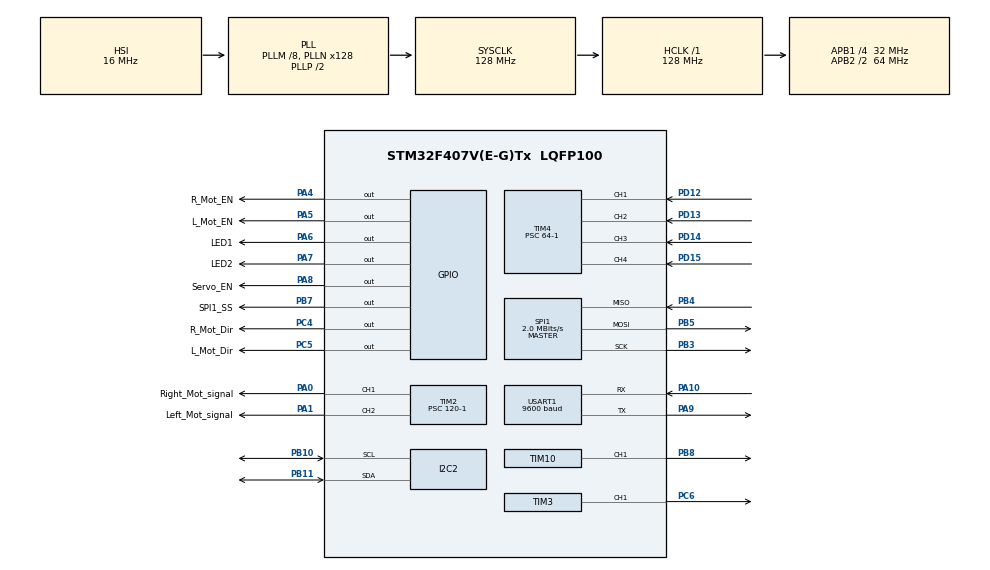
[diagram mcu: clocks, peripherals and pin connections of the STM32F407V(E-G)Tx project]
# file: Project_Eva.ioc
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I2C2.OwnAddress=0x64
Mcu.Family=STM32F4
Mcu.Name=STM32F407V(E-G)Tx
Mcu.Package=LQFP100
NVIC.PriorityGroup=NVIC_PRIORITYGROUP_4
NVIC.TIM2_IRQn=true\:0\:0\:false\:false\:true\:true\:true
NVIC.TIM4_IRQn=true\:0\:0\:false\:false\:true\:true\:true
NVIC.TIM6_DAC_IRQn=true\:1\:0\:true\:false\:true\:true\:true
NVIC.USART1_IRQn=true\:0\:0\:true\:false\:true\:true\:true
PA0-WKUP.GPIO_Label=Right_Mot_signal
PA0-WKUP.Signal=S_TIM2_CH1_ETR
PA1.GPIO_Label=Left_Mot_signal
PA1.Signal=S_TIM2_CH2
PA10.Mode=Asynchronous
PA10.Signal=USART1_RX
PA4.GPIO_Label=R_Mot_EN
PA4.GPIO_ModeDefaultOutputPP=GPIO_MODE_OUTPUT_PP
PA4.GPIO_PuPd=GPIO_NOPULL
PA4.Signal=GPIO_Output
PA5.GPIO_Label=L_Mot_EN
PA5.GPIO_ModeDefaultOutputPP=GPIO_MODE_OUTPUT_PP
PA5.GPIO_PuPd=GPIO_NOPULL
PA5.Signal=GPIO_Output
PA6.GPIO_Label=LED1
PA6.PinState=GPIO_PIN_SET
PA6.Signal=GPIO_Output
PA7.GPIO_Label=LED2
PA7.GPIO_ModeDefaultOutputPP=GPIO_MODE_OUTPUT_PP
PA7.Signal=GPIO_Output
PA8.GPIO_Label=Servo_EN
PA8.Signal=GPIO_Output
PA9.Mode=Asynchronous
PA9.Signal=USART1_TX
PB10.Mode=I2C
PB10.Signal=I2C2_SCL
PB11.Mode=I2C
PB11.Signal=I2C2_SDA
PB3.Mode=Full_Duplex_Master
PB3.Signal=SPI1_SCK
PB4.Mode=Full_Duplex_Master
PB4.Signal=SPI1_MISO
PB5.Mode=Full_Duplex_Master
PB5.Signal=SPI1_MOSI
PB7.GPIO_Label=SPI1_SS
PB7.GPIO_Speed=GPIO_SPEED_FREQ_VERY_HIGH
PB7.PinState=GPIO_PIN_SET
PB7.Signal=GPIO_Output
PB8.Signal=S_TIM10_CH1
PC4.GPIO_Label=R_Mot_Dir
PC4.GPIO_Speed=GPIO_SPEED_FREQ_HIGH
PC4.PinState=GPIO_PIN_RESET
PC4.Signal=GPIO_Output
PC5.GPIO_Label=L_Mot_Dir
PC5.GPIO_Speed=GPIO_SPEED_FREQ_HIGH
PC5.Signal=GPIO_Output
PC6.Signal=S_TIM3_CH1
PD12.Signal=S_TIM4_CH1
PD13.Signal=S_TIM4_CH2
PD14.Signal=S_TIM4_CH3
PD15.Signal=S_TIM4_CH4
ProjectManager.HeapSize=0x200
ProjectManager.StackSize=0x400
ProjectManager.TargetToolchain=STM32CubeIDE
RCC.48MHZClocksFreq_Value=64000000
RCC.AHBFreq_Value=128000000
RCC.APB1CLKDivider=RCC_HCLK_DIV4
RCC.APB1Freq_Value=32000000
RCC.APB1TimFreq_Value=64000000
RCC.APB2CLKDivider=RCC_HCLK_DIV2
RCC.APB2Freq_Value=64000000
RCC.APB2TimFreq_Value=128000000
RCC.CortexFreq_Value=128000000
RCC.HCLKFreq_Value=128000000
RCC.HSE_VALUE=25000000
RCC.HSI_VALUE=16000000
RCC.LSE_VALUE=32768
RCC.PLLM=8
RCC.PLLN=128
RCC.SYSCLKFreq_VALUE=128000000
RCC.SYSCLKSource=RCC_SYSCLKSOURCE_PLLCLK
RCC.VCOOutputFreq_Value=256000000
SH.S_TIM10_CH1.0=TIM10_CH1,PWM Generation1 CH1
SH.S_TIM2_CH1_ETR.0=TIM2_CH1,PWM Generation1 CH1
SH.S_TIM2_CH2.0=TIM2_CH2,PWM Generation2 CH2
SH.S_TIM3_CH1.0=TIM3_CH1,PWM Generation1 CH1
SH.S_TIM4_CH1.0=TIM4_CH1,Input_Capture1_from_TI1
SH.S_TIM4_CH2.0=TIM4_CH2,Input_Capture2_from_TI2
SH.S_TIM4_CH3.0=TIM4_CH3,Input_Capture3_from_TI3
SH.S_TIM4_CH4.0=TIM4_CH4,Input_Capture4_from_TI4
SPI1.BaudRatePrescaler=SPI_BAUDRATEPRESCALER_32
SPI1.CLKPhase=SPI_PHASE_2EDGE
SPI1.CLKPolarity=SPI_POLARITY_HIGH
SPI1.CalculateBaudRate=2.0 MBits/s
SPI1.Direction=SPI_DIRECTION_2LINES
SPI1.Mode=SPI_MODE_MASTER
SPI1.VirtualType=VM_MASTER
TIM10.AutoReloadPreload=TIM_AUTORELOAD_PRELOAD_ENABLE
TIM10.Channel=TIM_CHANNEL_1
TIM10.OC1Preload_PWM=ENABLE
TIM10.Prescaler=128-1
TIM10.Pulse=11-1
TIM2.Channel-PWM\ Generation1\ CH1=TIM_CHANNEL_1
TIM2.Channel-PWM\ Generation2\ CH2=TIM_CHANNEL_2
TIM2.CounterMode=TIM_COUNTERMODE_CENTERALIGNED1
TIM2.Period=256-1
TIM2.Prescaler=120-1
TIM3.Channel-PWM\ Generation1\ CH1=TIM_CHANNEL_1
TIM3.CounterMode=TIM_COUNTERMODE_UP
TIM3.Period=3600-1
TIM3.Prescaler=358-1
TIM3.Pulse-PWM\ Generation1\ CH1=180-1
TIM4.Channel-Input_Capture1_from_TI1=TIM_CHANNEL_1
TIM4.Channel-Input_Capture2_from_TI2=TIM_CHANNEL_2
TIM4.Channel-Input_Capture3_from_TI3=TIM_CHANNEL_3
TIM4.Channel-Input_Capture4_from_TI4=TIM_CHANNEL_4
TIM4.ICPolarity_CH2=TIM_INPUTCHANNELPOLARITY_BOTHEDGE
TIM4.ICPolarity_CH3=TIM_INPUTCHANNELPOLARITY_BOTHEDGE
TIM4.ICPolarity_CH4=TIM_INPUTCHANNELPOLARITY_BOTHEDGE
TIM4.Prescaler=64-1
TIM6.Period=1260-1
TIM6.Prescaler=1024-1
USART1.BaudRate=9600
USART1.VirtualMode=VM_ASYNC
VP_TIM10_VS_ClockSourceINT.Mode=Enable_Timer
VP_TIM2_VS_ClockSourceINT.Mode=Internal
VP_TIM3_VS_ClockSourceINT.Mode=Internal
VP_TIM4_VS_ClockSourceINT.Mode=Internal
VP_TIM6_VS_ClockSourceINT.Mode=Enable_Timer
board=custom

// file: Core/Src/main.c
/* USER CODE BEGIN Header */
/**
  ******************************************************************************
  * @file           : main.c
  * @brief          : Main program body
  ******************************************************************************
  * @attention
  *
  * <h2><center>&copy; Copyright (c) 2020 STMicroelectronics.
  * All rights reserved.</center></h2>
  *
  * This software component is licensed by ST under BSD 3-Clause license,
  * the "License"; You may not use this file except in compliance with the
  * License. You may obtain a copy of the License at:
  *                        opensource.org/licenses/BSD-3-Clause
  *
  ******************************************************************************
  */
/* USER CODE END Header */
#include "main.h"

I2C_HandleTypeDef hi2c2;

SPI_HandleTypeDef hspi1;

TIM_HandleTypeDef htim2;
TIM_HandleTypeDef htim3;
TIM_HandleTypeDef htim4;
TIM_HandleTypeDef htim6;
TIM_HandleTypeDef htim10;

UART_HandleTypeDef huart1;

void SystemClock_Config(void);
static void MX_GPIO_Init(void);
static void MX_TIM2_Init(void);
static void MX_I2C2_Init(void);
static void MX_SPI1_Init(void);
static void MX_USART1_UART_Init(void);
static void MX_TIM4_Init(void);
static void MX_TIM6_Init(void);
static void MX_TIM10_Init(void);
static void MX_TIM3_Init(void);

/* USER CODE BEGIN 0 */
	uint8_t inbuffer2[30] = {0};
	Pixy2_Data_CCC Signature_1;
	Pixy2_Data_LTC Barcode;
/* USER CODE END 0 */

int main(void)
{

  /* MCU Configuration--------------------------------------------------------*/

  /* Reset of all peripherals, Initializes the Flash interface and the Systick. */
  HAL_Init();

  /* Configure the system clock */
  SystemClock_Config();

  /* Initialize all configured peripherals */
  MX_GPIO_Init();
  MX_TIM2_Init();
  MX_I2C2_Init();
  MX_SPI1_Init();
  MX_USART1_UART_Init();
  MX_TIM4_Init();
  MX_TIM6_Init();
  MX_TIM10_Init();
  MX_TIM3_Init();
  /* USER CODE BEGIN 2 */
  calculate_Gaussian_Transform();
  //.set LED off:
  HAL_GPIO_WritePin(GPIOA, LED2_Pin, 0);
  //.general IO initializations:
  HAL_TIM_Base_Start_IT(&htim6);				//initiate scheduler timer 20ms period
  HAL_TIM_Base_Start_IT(&htim2);				//initiate Motor Drive control Timer 0.5ms period
  //.start UART Engine on interrupt mode:
  __HAL_UART_ENABLE_IT(&huart1, UART_IT_RXNE);	//initiate hsuart interrupt on rx

  //.setup MPU6050 Sensor:
  MPU6050_Init(&hi2c2);
  MPU_ConfigTypeDef MPU6050IMU ;
  MPU6050IMU.Accel_Full_Scale = AFS_SEL_2g;
  MPU6050IMU.CONFIG_DLPF = DLPF_184A_188G_Hz;
  MPU6050IMU.ClockSource = Internal_8MHz;
  MPU6050IMU.Gyro_Full_Scale = FS_SEL_250;
  MPU6050IMU.Sleep_Mode_Bit = 0;
  MPU6050_Config(&MPU6050IMU);
  RawData_Def Accel_Raw_Cali;
  MPU6050_Get_Accel_RawData(&Accel_Raw_Cali);
  // ************************
  Enable_Motor('R');
  Enable_Motor('L');
  Initiate_PWM_Signal('R');
  Initiate_PWM_Signal('L');
  Set_Right_Motor_Direction('F');
  Set_Left_Motor_Direction('F');

  HAL_TIM_PWM_Start(&htim3, TIM_CHANNEL_1);
  //HAL_TIM_PWM_Start(&htim3, TIM_CHANNEL_2);
  //HAL_TIM_PWM_Start(&htim3, TIM_CHANNEL_3);
  //HAL_TIM_PWM_Start(&htim3, TIM_CHANNEL_4);

  //htim3.Instance -> CCR1= (180+0)  ;
  //htim3.Instance -> CCR1= (180+90)  ;
  //htim3.Instance -> CCR1= (180+180)  ;
  //htim3.Instance -> CCR1= (180+45)  ;
  htim3.Instance -> CCR1= (180+180);
  //int num=360;
  /* USER CODE END 2 */

  /* Infinite loop */
  while (1)
  {

    /* USER CODE BEGIN 3 */
	  /*
	  for(int i=0; i<400; i++){
		  HAL_Delay(10);
		  htim3.Instance -> CCR1= (180+i);
	  }
	  for(int i=400; i>0; i--){
	  	  HAL_Delay(10);
	  	  htim3.Instance -> CCR1= (180+i);
	  }
	  */
  }
  /* USER CODE END 3 */
}

void SystemClock_Config(void)
{
  RCC_OscInitTypeDef RCC_OscInitStruct = {0};
  RCC_ClkInitTypeDef RCC_ClkInitStruct = {0};

  /** Configure the main internal regulator output voltage
  */
  __HAL_RCC_PWR_CLK_ENABLE();
  __HAL_PWR_VOLTAGESCALING_CONFIG(PWR_REGULATOR_VOLTAGE_SCALE1);
  /** Initializes the RCC Oscillators according to the specified parameters
  * in the RCC_OscInitTypeDef structure.
  */
  RCC_OscInitStruct.OscillatorType = RCC_OSCILLATORTYPE_HSI;
  RCC_OscInitStruct.HSIState = RCC_HSI_ON;
  RCC_OscInitStruct.HSICalibrationValue = RCC_HSICALIBRATION_DEFAULT;
  RCC_OscInitStruct.PLL.PLLState = RCC_PLL_ON;
  RCC_OscInitStruct.PLL.PLLSource = RCC_PLLSOURCE_HSI;
  RCC_OscInitStruct.PLL.PLLM = 8;
  RCC_OscInitStruct.PLL.PLLN = 128;
  RCC_OscInitStruct.PLL.PLLP = RCC_PLLP_DIV2;
  RCC_OscInitStruct.PLL.PLLQ = 4;
  if (HAL_RCC_OscConfig(&RCC_OscInitStruct) != HAL_OK)
  {
    Error_Handler();
  }
  /** Initializes the CPU, AHB and APB buses clocks
  */
  RCC_ClkInitStruct.ClockType = RCC_CLOCKTYPE_HCLK|RCC_CLOCKTYPE_SYSCLK
                              |RCC_CLOCKTYPE_PCLK1|RCC_CLOCKTYPE_PCLK2;
  RCC_ClkInitStruct.SYSCLKSource = RCC_SYSCLKSOURCE_PLLCLK;
  RCC_ClkInitStruct.AHBCLKDivider = RCC_SYSCLK_DIV1;
  RCC_ClkInitStruct.APB1CLKDivider = RCC_HCLK_DIV4;
  RCC_ClkInitStruct.APB2CLKDivider = RCC_HCLK_DIV2;

  if (HAL_RCC_ClockConfig(&RCC_ClkInitStruct, FLASH_LATENCY_4) != HAL_OK)
  {
    Error_Handler();
  }
}

static void MX_I2C2_Init(void)
{

  hi2c2.Instance = I2C2;
  hi2c2.Init.ClockSpeed = 100000;
  hi2c2.Init.DutyCycle = I2C_DUTYCYCLE_2;
  hi2c2.Init.OwnAddress1 = 200;
  hi2c2.Init.AddressingMode = I2C_ADDRESSINGMODE_7BIT;
  hi2c2.Init.DualAddressMode = I2C_DUALADDRESS_DISABLE;
  hi2c2.Init.OwnAddress2 = 0;
  hi2c2.Init.GeneralCallMode = I2C_GENERALCALL_DISABLE;
  hi2c2.Init.NoStretchMode = I2C_NOSTRETCH_DISABLE;
  if (HAL_I2C_Init(&hi2c2) != HAL_OK)
  {
    Error_Handler();
  }

}

static void MX_SPI1_Init(void)
{

  /* SPI1 parameter configuration*/
  hspi1.Instance = SPI1;
  hspi1.Init.Mode = SPI_MODE_MASTER;
  hspi1.Init.Direction = SPI_DIRECTION_2LINES;
  hspi1.Init.DataSize = SPI_DATASIZE_8BIT;
  hspi1.Init.CLKPolarity = SPI_POLARITY_HIGH;
  hspi1.Init.CLKPhase = SPI_PHASE_2EDGE;
  hspi1.Init.NSS = SPI_NSS_SOFT;
  hspi1.Init.BaudRatePrescaler = SPI_BAUDRATEPRESCALER_32;
  hspi1.Init.FirstBit = SPI_FIRSTBIT_MSB;
  hspi1.Init.TIMode = SPI_TIMODE_DISABLE;
  hspi1.Init.CRCCalculation = SPI_CRCCALCULATION_DISABLE;
  hspi1.Init.CRCPolynomial = 10;
  if (HAL_SPI_Init(&hspi1) != HAL_OK)
  {
    Error_Handler();
  }

}

static void MX_TIM2_Init(void)
{

  TIM_ClockConfigTypeDef sClockSourceConfig = {0};
  TIM_MasterConfigTypeDef sMasterConfig = {0};
  TIM_OC_InitTypeDef sConfigOC = {0};

  htim2.Instance = TIM2;
  htim2.Init.Prescaler = 120-1;
  htim2.Init.CounterMode = TIM_COUNTERMODE_CENTERALIGNED1;
  htim2.Init.Period = 256-1;
  htim2.Init.ClockDivision = TIM_CLOCKDIVISION_DIV1;
  htim2.Init.AutoReloadPreload = TIM_AUTORELOAD_PRELOAD_DISABLE;
  if (HAL_TIM_Base_Init(&htim2) != HAL_OK)
  {
    Error_Handler();
  }
  sClockSourceConfig.ClockSource = TIM_CLOCKSOURCE_INTERNAL;
  if (HAL_TIM_ConfigClockSource(&htim2, &sClockSourceConfig) != HAL_OK)
  {
    Error_Handler();
  }
  if (HAL_TIM_PWM_Init(&htim2) != HAL_OK)
  {
    Error_Handler();
  }
  sMasterConfig.MasterOutputTrigger = TIM_TRGO_RESET;
  sMasterConfig.MasterSlaveMode = TIM_MASTERSLAVEMODE_DISABLE;
  if (HAL_TIMEx_MasterConfigSynchronization(&htim2, &sMasterConfig) != HAL_OK)
  {
    Error_Handler();
  }
  sConfigOC.OCMode = TIM_OCMODE_PWM1;
  sConfigOC.Pulse = 0;
  sConfigOC.OCPolarity = TIM_OCPOLARITY_HIGH;
  sConfigOC.OCFastMode = TIM_OCFAST_DISABLE;
  if (HAL_TIM_PWM_ConfigChannel(&htim2, &sConfigOC, TIM_CHANNEL_1) != HAL_OK)
  {
    Error_Handler();
  }
  if (HAL_TIM_PWM_ConfigChannel(&htim2, &sConfigOC, TIM_CHANNEL_2) != HAL_OK)
  {
    Error_Handler();
  }
  HAL_TIM_MspPostInit(&htim2);

}

static void MX_TIM3_Init(void)
{

  TIM_ClockConfigTypeDef sClockSourceConfig = {0};
  TIM_MasterConfigTypeDef sMasterConfig = {0};
  TIM_OC_InitTypeDef sConfigOC = {0};

  htim3.Instance = TIM3;
  htim3.Init.Prescaler = 358-1;
  htim3.Init.CounterMode = TIM_COUNTERMODE_UP;
  htim3.Init.Period = 3600-1;
  htim3.Init.ClockDivision = TIM_CLOCKDIVISION_DIV1;
  htim3.Init.AutoReloadPreload = TIM_AUTORELOAD_PRELOAD_DISABLE;
  if (HAL_TIM_Base_Init(&htim3) != HAL_OK)
  {
    Error_Handler();
  }
  sClockSourceConfig.ClockSource = TIM_CLOCKSOURCE_INTERNAL;
  if (HAL_TIM_ConfigClockSource(&htim3, &sClockSourceConfig) != HAL_OK)
  {
    Error_Handler();
  }
  if (HAL_TIM_PWM_Init(&htim3) != HAL_OK)
  {
    Error_Handler();
  }
  sMasterConfig.MasterOutputTrigger = TIM_TRGO_RESET;
  sMasterConfig.MasterSlaveMode = TIM_MASTERSLAVEMODE_DISABLE;
  if (HAL_TIMEx_MasterConfigSynchronization(&htim3, &sMasterConfig) != HAL_OK)
  {
    Error_Handler();
  }
  sConfigOC.OCMode = TIM_OCMODE_PWM1;
  sConfigOC.Pulse = 180-1;
  sConfigOC.OCPolarity = TIM_OCPOLARITY_HIGH;
  sConfigOC.OCFastMode = TIM_OCFAST_DISABLE;
  if (HAL_TIM_PWM_ConfigChannel(&htim3, &sConfigOC, TIM_CHANNEL_1) != HAL_OK)
  {
    Error_Handler();
  }
  HAL_TIM_MspPostInit(&htim3);

}

static void MX_TIM4_Init(void)
{

  TIM_ClockConfigTypeDef sClockSourceConfig = {0};
  TIM_MasterConfigTypeDef sMasterConfig = {0};
  TIM_IC_InitTypeDef sConfigIC = {0};

  htim4.Instance = TIM4;
  htim4.Init.Prescaler = 64-1;
  htim4.Init.CounterMode = TIM_COUNTERMODE_UP;
  htim4.Init.Period = 65535;
  htim4.Init.ClockDivision = TIM_CLOCKDIVISION_DIV1;
  htim4.Init.AutoReloadPreload = TIM_AUTORELOAD_PRELOAD_DISABLE;
  if (HAL_TIM_Base_Init(&htim4) != HAL_OK)
  {
    Error_Handler();
  }
  sClockSourceConfig.ClockSource = TIM_CLOCKSOURCE_INTERNAL;
  if (HAL_TIM_ConfigClockSource(&htim4, &sClockSourceConfig) != HAL_OK)
  {
    Error_Handler();
  }
  if (HAL_TIM_IC_Init(&htim4) != HAL_OK)
  {
    Error_Handler();
  }
  sMasterConfig.MasterOutputTrigger = TIM_TRGO_RESET;
  sMasterConfig.MasterSlaveMode = TIM_MASTERSLAVEMODE_DISABLE;
  if (HAL_TIMEx_MasterConfigSynchronization(&htim4, &sMasterConfig) != HAL_OK)
  {
    Error_Handler();
  }
  sConfigIC.ICPolarity = TIM_INPUTCHANNELPOLARITY_RISING;
  sConfigIC.ICSelection = TIM_ICSELECTION_DIRECTTI;
  sConfigIC.ICPrescaler = TIM_ICPSC_DIV1;
  sConfigIC.ICFilter = 0;
  if (HAL_TIM_IC_ConfigChannel(&htim4, &sConfigIC, TIM_CHANNEL_1) != HAL_OK)
  {
    Error_Handler();
  }
  sConfigIC.ICPolarity = TIM_INPUTCHANNELPOLARITY_BOTHEDGE;
  if (HAL_TIM_IC_ConfigChannel(&htim4, &sConfigIC, TIM_CHANNEL_2) != HAL_OK)
  {
    Error_Handler();
  }
  if (HAL_TIM_IC_ConfigChannel(&htim4, &sConfigIC, TIM_CHANNEL_3) != HAL_OK)
  {
    Error_Handler();
  }
  if (HAL_TIM_IC_ConfigChannel(&htim4, &sConfigIC, TIM_CHANNEL_4) != HAL_OK)
  {
    Error_Handler();
  }

}

static void MX_TIM6_Init(void)
{

  TIM_MasterConfigTypeDef sMasterConfig = {0};

  htim6.Instance = TIM6;
  htim6.Init.Prescaler = 1024-1;
  htim6.Init.CounterMode = TIM_COUNTERMODE_UP;
  htim6.Init.Period = 1260-1;
  htim6.Init.AutoReloadPreload = TIM_AUTORELOAD_PRELOAD_DISABLE;
  if (HAL_TIM_Base_Init(&htim6) != HAL_OK)
  {
    Error_Handler();
  }
  sMasterConfig.MasterOutputTrigger = TIM_TRGO_RESET;
  sMasterConfig.MasterSlaveMode = TIM_MASTERSLAVEMODE_DISABLE;
  if (HAL_TIMEx_MasterConfigSynchronization(&htim6, &sMasterConfig) != HAL_OK)
  {
    Error_Handler();
  }

}

static void MX_TIM10_Init(void)
{

  TIM_OC_InitTypeDef sConfigOC = {0};

  htim10.Instance = TIM10;
  htim10.Init.Prescaler = 128-1;
  htim10.Init.CounterMode = TIM_COUNTERMODE_UP;
  htim10.Init.Period = 65535;
  htim10.Init.ClockDivision = TIM_CLOCKDIVISION_DIV1;
  htim10.Init.AutoReloadPreload = TIM_AUTORELOAD_PRELOAD_ENABLE;
  if (HAL_TIM_Base_Init(&htim10) != HAL_OK)
  {
    Error_Handler();
  }
  if (HAL_TIM_PWM_Init(&htim10) != HAL_OK)
  {
    Error_Handler();
  }
  sConfigOC.OCMode = TIM_OCMODE_PWM1;
  sConfigOC.Pulse = 11-1;
  sConfigOC.OCPolarity = TIM_OCPOLARITY_HIGH;
  sConfigOC.OCFastMode = TIM_OCFAST_DISABLE;
  if (HAL_TIM_PWM_ConfigChannel(&htim10, &sConfigOC, TIM_CHANNEL_1) != HAL_OK)
  {
    Error_Handler();
  }
  HAL_TIM_MspPostInit(&htim10);

}

static void MX_USART1_UART_Init(void)
{

  huart1.Instance = USART1;
  huart1.Init.BaudRate = 9600;
  huart1.Init.WordLength = UART_WORDLENGTH_8B;
  huart1.Init.StopBits = UART_STOPBITS_1;
  huart1.Init.Parity = UART_PARITY_NONE;
  huart1.Init.Mode = UART_MODE_TX_RX;
  huart1.Init.HwFlowCtl = UART_HWCONTROL_NONE;
  huart1.Init.OverSampling = UART_OVERSAMPLING_16;
  if (HAL_UART_Init(&huart1) != HAL_OK)
  {
    Error_Handler();
  }

}

static void MX_GPIO_Init(void)
{
  GPIO_InitTypeDef GPIO_InitStruct = {0};

  /* GPIO Ports Clock Enable */
  __HAL_RCC_GPIOA_CLK_ENABLE();
  __HAL_RCC_GPIOC_CLK_ENABLE();
  __HAL_RCC_GPIOB_CLK_ENABLE();
  __HAL_RCC_GPIOD_CLK_ENABLE();

  /*Configure GPIO pin Output Level */
  HAL_GPIO_WritePin(GPIOA, R_Mot_EN_Pin|L_Mot_EN_Pin|LED2_Pin|Servo_EN_Pin, GPIO_PIN_RESET);

  /*Configure GPIO pin Output Level */
  HAL_GPIO_WritePin(LED1_GPIO_Port, LED1_Pin, GPIO_PIN_SET);

  /*Configure GPIO pin Output Level */
  HAL_GPIO_WritePin(GPIOC, R_Mot_Dir_Pin|L_Mot_Dir_Pin, GPIO_PIN_RESET);

  /*Configure GPIO pin Output Level */
  HAL_GPIO_WritePin(SPI1_SS_GPIO_Port, SPI1_SS_Pin, GPIO_PIN_SET);

  /*Configure GPIO pins : R_Mot_EN_Pin L_Mot_EN_Pin LED1_Pin LED2_Pin
                           Servo_EN_Pin */
  GPIO_InitStruct.Pin = R_Mot_EN_Pin|L_Mot_EN_Pin|LED1_Pin|LED2_Pin
                          |Servo_EN_Pin;
  GPIO_InitStruct.Mode = GPIO_MODE_OUTPUT_PP;
  GPIO_InitStruct.Pull = GPIO_NOPULL;
  GPIO_InitStruct.Speed = GPIO_SPEED_FREQ_LOW;
  HAL_GPIO_Init(GPIOA, &GPIO_InitStruct);

  /*Configure GPIO pins : R_Mot_Dir_Pin L_Mot_Dir_Pin */
  GPIO_InitStruct.Pin = R_Mot_Dir_Pin|L_Mot_Dir_Pin;
  GPIO_InitStruct.Mode = GPIO_MODE_OUTPUT_PP;
  GPIO_InitStruct.Pull = GPIO_NOPULL;
  GPIO_InitStruct.Speed = GPIO_SPEED_FREQ_HIGH;
  HAL_GPIO_Init(GPIOC, &GPIO_InitStruct);

  /*Configure GPIO pin : SPI1_SS_Pin */
  GPIO_InitStruct.Pin = SPI1_SS_Pin;
  GPIO_InitStruct.Mode = GPIO_MODE_OUTPUT_PP;
  GPIO_InitStruct.Pull = GPIO_NOPULL;
  GPIO_InitStruct.Speed = GPIO_SPEED_FREQ_VERY_HIGH;
  HAL_GPIO_Init(SPI1_SS_GPIO_Port, &GPIO_InitStruct);

}

/* USER CODE BEGIN 4 */
void HAL_TIM_PeriodElapsedCallback(TIM_HandleTypeDef *htim){
//
	if( htim == &htim6 ){
		//Scheduler runs at 20ms
		scheduler();
	}
	if( htim == &htim2 ){
		//if(Halt_Controller == 0){
		Kinematics_Controler();
		//}
	}
}

void HAL_TIM_IC_CaptureCallback(TIM_HandleTypeDef *htim){
	HCSR06_Capture_Handler(htim);
}
//

/* USER CODE END 4 */

void Error_Handler(void)
{
}

/************************ (C) COPYRIGHT STMicroelectronics *****END OF FILE****/
